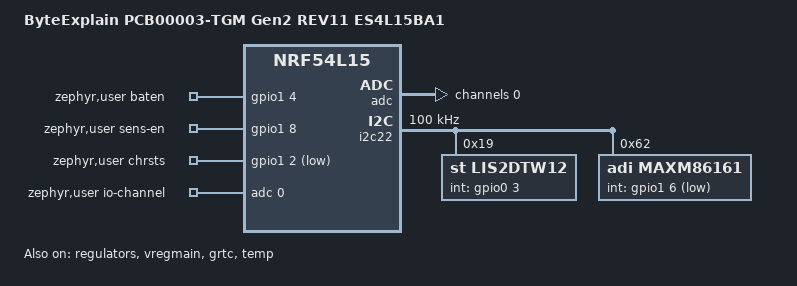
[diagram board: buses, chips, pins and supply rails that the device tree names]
/*
 * Copyright (c) 2026 ByteExplain / JAC Dental
 * SPDX-License-Identifier: Apache-2.0
 *
 * PCB00003 Gen2 REV11 — Kaga ES4L15BA1 / nRF54L15 application core.
 * Pins from PCB00003-TGM-SCHEM-REV10 sheet 2 (1 May 2026).
 */

/dts-v1/;

#include <nordic/nrf54l15_cpuapp.dtsi>
#include <zephyr/dt-bindings/adc/nrf-adc.h>
#include <zephyr/dt-bindings/i2c/i2c.h>
#include "pcb00003_gen2-pinctrl.dtsi"

/ {
	model = "ByteExplain PCB00003-TGM Gen2 REV11 ES4L15BA1";
	compatible = "byteexplain,pcb00003-gen2";

	chosen {
		zephyr,sram = &cpuapp_sram;
		zephyr,flash-controller = &rram_controller;
		zephyr,flash = &cpuapp_rram;
		zephyr,code-partition = &slot0_partition;
	};

	zephyr,user {
		io-channels = <&adc 0>;
		/* BATEN is P1.04. SENS_EN is P1.08. CHRSTS is P1.02. */
		baten-gpios = <&gpio1 4 GPIO_ACTIVE_HIGH>;
		sens-en-gpios = <&gpio1 8 GPIO_ACTIVE_HIGH>;
		chrsts-gpios = <&gpio1 2 (GPIO_ACTIVE_LOW | GPIO_PULL_UP)>;
	};
};

&cpuapp_sram {
	status = "okay";
};

/* X1 is the ABS06 32.768 kHz crystal on P1.00 (XL1) and P1.01 (XL2).
 * 15500 fF was copied from the PDK. Radio event flags stayed clear with
 * that value, so this is the Nordic custom-board example, 12 pF. It is
 * not a measured load for this crystal. The 32 MHz load is unchanged.
 */
&lfxo {
	load-capacitors = "internal";
	load-capacitance-femtofarad = <12000>;
};

&hfxo {
	load-capacitors = "internal";
	load-capacitance-femtofarad = <15000>;
};

/* L2 is 4.7 µH on the module. NCS 2.9 selects DCDC here, not in Kconfig. */
&regulators {
	status = "okay";
};

&vregmain {
	status = "okay";
	regulator-initial-mode = <NRF5X_REG_MODE_DCDC>;
};

&grtc {
	owned-channels = <0 1 2 3 4 5 6 7 8 9 10 11>;
	child-owned-channels = <3 4 7 8 9 10 11>;
	status = "okay";
};

/* Application RRAM is 1428 KB (0x165000). MCUboot at 0, two equal slots,
 * then a storage page. Partition Manager may resize these when sysbuild
 * is on; the labels are what it looks up.
 */
&cpuapp_rram {
	partitions {
		compatible = "fixed-partitions";
		#address-cells = <1>;
		#size-cells = <1>;

		boot_partition: partition@0 {
			label = "mcuboot";
			reg = <0x0 DT_SIZE_K(64)>;
		};
		slot0_partition: partition@10000 {
			label = "image-0";
			reg = <0x10000 DT_SIZE_K(670)>;
		};
		slot1_partition: partition@b7800 {
			label = "image-1";
			reg = <0xb7800 DT_SIZE_K(670)>;
		};
		storage_partition: partition@15f000 {
			label = "storage";
			reg = <0x15f000 DT_SIZE_K(24)>;
		};
	};
};

&gpio0 {
	status = "okay";
};

&gpio1 {
	status = "okay";
};

&gpio2 {
	status = "okay";
};

&gpiote20 {
	status = "okay";
};

&gpiote30 {
	status = "okay";
};

&clock {
	status = "okay";
};

&temp {
	status = "okay";
};

/* BATVOL is P1.05 / AIN1. P1.04 is BATEN, not the ADC. */
&adc {
	status = "okay";
	#address-cells = <1>;
	#size-cells = <0>;

	channel@0 {
		reg = <0>;
		zephyr,gain = "ADC_GAIN_1";
		zephyr,reference = "ADC_REF_INTERNAL";
		zephyr,acquisition-time = <ADC_ACQ_TIME_DEFAULT>;
		zephyr,input-positive = <NRF_SAADC_AIN1>;
		zephyr,resolution = <12>;
	};
};

/* SDA P1.07, SCL P1.03. TWIM22 can mux port 1. */
&i2c22 {
	compatible = "nordic,nrf-twim";
	status = "okay";
	clock-frequency = <I2C_BITRATE_STANDARD>;
	pinctrl-0 = <&i2c22_default>;
	pinctrl-1 = <&i2c22_sleep>;
	pinctrl-names = "default", "sleep";

	lis2dtw12: lis2dtw12@19 {
		compatible = "st,lis2dtw12";
		status = "okay";
		reg = <0x19>;
		/* INT_ACC is P0.03, LIS2DTW12 INT1 push-pull. */
		int-gpios = <&gpio0 3 GPIO_ACTIVE_HIGH>;
	};

	maxm86161: maxm86161@62 {
		compatible = "adi,maxm86161";
		status = "okay";
		reg = <0x62>;
		/* INT_OPT is P1.06, MAXM86161 open-drain. */
		int-gpios = <&gpio1 6 (GPIO_ACTIVE_LOW | GPIO_PULL_UP)>;
	};
};
